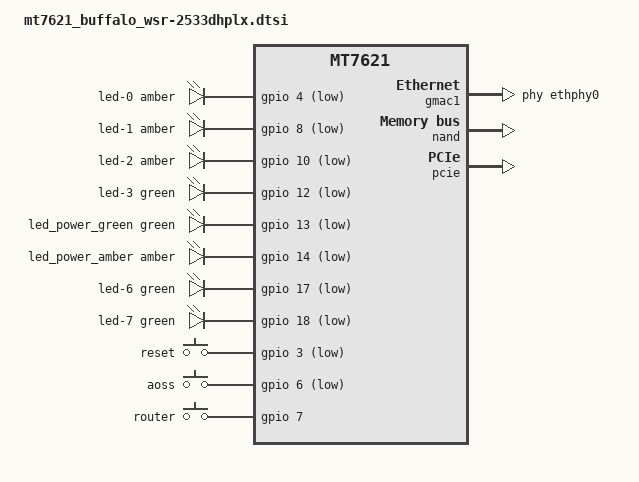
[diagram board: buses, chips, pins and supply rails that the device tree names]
// SPDX-License-Identifier: GPL-2.0-or-later OR MIT

#include "mt7621.dtsi"

#include <dt-bindings/gpio/gpio.h>
#include <dt-bindings/input/input.h>
#include <dt-bindings/leds/common.h>

/ {
	aliases {
		led-boot = &led_power_green;
		led-failsafe = &led_power_amber;
		led-running = &led_power_green;
		led-upgrade = &led_power_green;
	};

	leds {
		compatible = "gpio-leds";

		led-0 {
			gpios = <&gpio 4 GPIO_ACTIVE_LOW>;
			color = <LED_COLOR_ID_AMBER>;
			function = "router";
		};

		led-1 {
			gpios = <&gpio 8 GPIO_ACTIVE_LOW>;
			color = <LED_COLOR_ID_AMBER>;
			function = LED_FUNCTION_WLAN;
		};

		led-2 {
			gpios = <&gpio 10 GPIO_ACTIVE_LOW>;
			color = <LED_COLOR_ID_AMBER>;
			function = LED_FUNCTION_WAN_ONLINE;
		};

		led-3 {
			gpios = <&gpio 12 GPIO_ACTIVE_LOW>;
			color = <LED_COLOR_ID_GREEN>;
			function = LED_FUNCTION_WAN_ONLINE;
		};

		led_power_green: led-4 {
			gpios = <&gpio 13 GPIO_ACTIVE_LOW>;
			color = <LED_COLOR_ID_GREEN>;
			function = LED_FUNCTION_POWER;
		};

		led_power_amber: led-5 {
			gpios = <&gpio 14 GPIO_ACTIVE_LOW>;
			color = <LED_COLOR_ID_AMBER>;
			function = LED_FUNCTION_POWER;
		};

		led-6 {
			gpios = <&gpio 17 GPIO_ACTIVE_LOW>;
			color = <LED_COLOR_ID_GREEN>;
			function = LED_FUNCTION_WLAN;
		};

		led-7 {
			gpios = <&gpio 18 GPIO_ACTIVE_LOW>;
			color = <LED_COLOR_ID_GREEN>;
			function = "router";
		};
	};

	keys {
		compatible = "gpio-keys";

		button-reset {
			label = "reset";
			gpios = <&gpio 3 GPIO_ACTIVE_LOW>;
			linux,code = <KEY_RESTART>;
		};

		button-aoss {
			label = "aoss";
			gpios = <&gpio 6 GPIO_ACTIVE_LOW>;
			linux,code = <KEY_WPS_BUTTON>;
		};

		switch-router {
			label = "router";
			gpios = <&gpio 7 GPIO_ACTIVE_HIGH>;
			linux,code = <BTN_0>;
			linux,input-type = <EV_SW>;
		};
	};
};

&gmac1 {
	status = "okay";
	label = "wan";
	phy-handle = <&ethphy0>;
};

&ethphy0 {
	/delete-property/ interrupts;
};

&switch0 {
	ports {
		port@1 {
			status = "okay";
			label = "lan1";
		};

		port@2 {
			status = "okay";
			label = "lan2";
		};

		port@3 {
			status = "okay";
			label = "lan3";
		};
	};
};

&nand {
	status = "okay";

	partitions: partitions {
		compatible = "fixed-partitions";
		#address-cells = <1>;
		#size-cells = <0x01>;

		partition@0 {
			label = "u-boot";
			reg = <0x00 0x80000>;
			read-only;
		};

		partition@80000 {
			label = "u-boot-env";
			reg = <0x80000 0x80000>;
			read-only;
		};
	};
};

&pcie {
	status = "okay";
};

&pcie0 {
	wifi@0,0 {
		reg = <0x0000 0 0 0 0>;
		nvmem-cells = <&eeprom_factory_0>;
		nvmem-cell-names = "eeprom";
		ieee80211-freq-limit = <2400000 2500000>;
	};
};

&pcie1 {
	wifi@0,0 {
		reg = <0x0000 0 0 0 0>;
		nvmem-cells = <&eeprom_factory_8000>;
		nvmem-cell-names = "eeprom";
		ieee80211-freq-limit = <5000000 6000000>;
	};
};

&state_default {
	gpio {
		groups = "i2c", "uart2", "uart3";
		function = "gpio";
	};
};

&xhci {
	status = "disabled";
};
